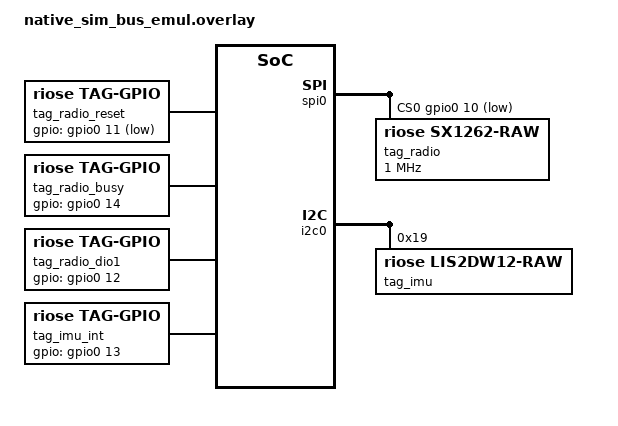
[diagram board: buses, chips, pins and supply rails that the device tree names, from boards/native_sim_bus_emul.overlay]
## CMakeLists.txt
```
cmake_minimum_required(VERSION 3.20.0)
find_package(Zephyr REQUIRED HINTS $ENV{ZEPHYR_BASE})
project(cattle_tag_zephyr)

if(CONFIG_BOARD_NATIVE_SIM)
  # native_sim runs the same firmware command protocol against the C
  # peripheral models; this avoids a second Zephyr bus-emulator stack.
  target_sources(app PRIVATE
    src/native_sim_main.c
    ../src/tag_firmware.c
    ../src/sx1262.c
    ../src/reset_cause.c
    ../src/lis2dw12.c
    ../../models/sx1262/src/sx1262_model.c
    ../../models/lis2dw12/lis2dw12_model.c
  )
  target_include_directories(app PRIVATE
    ../include
    ../../models/sx1262/include
    ../../models/lis2dw12
  )
else()
  target_sources(app PRIVATE src/main.c ../src/tag_firmware.c ../src/sx1262.c ../src/reset_cause.c ../src/lis2dw12.c)
  target_include_directories(app PRIVATE ../include)
endif()
```

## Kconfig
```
mainmenu "RIOSE virtual cattle tag"
source "Kconfig.zephyr"

menu "RIOSE virtual cattle tag"

config TAG_ID
	int "32-bit tag identity"
	range 0 2147483647
	default 1

config TAG_BATTERY_MV
	int "Configured battery voltage in millivolts"
	range 0 65535
	default 3000

config TAG_RF_FREQUENCY_HZ
	int "Sub-GHz radio frequency in Hz"
	range 150000000 960000000
	default 915000000

config TAG_TX_POWER_DBM
	int "SX1262 TX power in dBm"
	range -9 22
	default 10

config TAG_STRUCTURED_TRACE
	bool "Emit structured firmware trace records"
	default y
	help
	  Enable the optional SIMULATED_TRACE console sink. Disabling this option
	  removes structured trace output without changing firmware policy.

config TAG_NATIVE_SIM_INJECT_IMU_FAILURE
	bool "Inject one native_sim IMU error for trace recovery tests"
	depends on BOARD_NATIVE_SIM
	default n
	help
	  Make the native_sim test fail one IMU read, then verify the firmware
	  emits ERROR/RECOVERY records and completes a later radio cycle.

endmenu
```

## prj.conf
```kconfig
CONFIG_GPIO=y
CONFIG_I2C=y
CONFIG_SPI=y
CONFIG_MAIN_STACK_SIZE=2048
CONFIG_HEAP_MEM_POOL_SIZE=1024
```

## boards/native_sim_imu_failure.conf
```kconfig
CONFIG_TAG_NATIVE_SIM_INJECT_IMU_FAILURE=y
```

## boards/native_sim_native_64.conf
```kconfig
# The deterministic host harness uses modeled SPI/I2C/GPIO responders. Keep
# their emulation support out of the small physical MCU image.
CONFIG_LOG=y
CONFIG_LOG_DEFAULT_LEVEL=3
```

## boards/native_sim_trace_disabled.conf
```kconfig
CONFIG_TAG_STRUCTURED_TRACE=n
```

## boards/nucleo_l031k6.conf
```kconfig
# Physical characterization build: these settings do not affect native_sim.
CONFIG_PM=y
CONFIG_COUNTER=y
CONFIG_COUNTER_RTC_STM32=y
CONFIG_WATCHDOG=y
CONFIG_WDT_DISABLE_AT_BOOT=y
CONFIG_IWDG_STM32_INITIAL_TIMEOUT=10000
CONFIG_HWINFO=y
CONFIG_TAG_TX_POWER_DBM=14
CONFIG_LOG=n
CONFIG_MAIN_STACK_SIZE=1024
CONFIG_HEAP_MEM_POOL_SIZE=0
```

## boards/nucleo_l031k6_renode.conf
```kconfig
# Renode's STM32L071 surrogate does not model the NUCLEO-L031K6 low-power RTC
# behavior used by the physical profile. Keep the periodic kernel timer active
# so the firmware's bounded sleep and radio-reset delays advance in simulation.
CONFIG_PM=n
# Restore the project's 2 KiB main stack in this profile; the physical board
# fragment overrides it with 1 KiB for the device build.
CONFIG_MAIN_STACK_SIZE=2048
# Keep simulated firmware traces visible on the chosen UART with Zephyr's
# minimal logger, without adding a separate test-side summary as evidence.
CONFIG_LOG=y
CONFIG_LOG_MODE_MINIMAL=y
CONFIG_TAG_STRUCTURED_TRACE=y
```

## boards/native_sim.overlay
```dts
/* Native_sim has emulated SPI/I2C/GPIO controllers. Peripheral responders
 * still need Zephyr bus-emulator implementations; see README.md. */
#include <zephyr/dt-bindings/gpio/gpio.h>

&spi0 {
	status = "okay";
	cs-gpios = <&gpio0 10 GPIO_ACTIVE_LOW>;
	tag_radio: sx1262@0 {
		compatible = "riose,sx1262-raw";
		reg = <0>;
		spi-max-frequency = <1000000>;
		status = "okay";
	};
};

&i2c0 {
	status = "okay";
	tag_imu: lis2dw12@19 {
		compatible = "riose,lis2dw12-raw";
		reg = <0x19>;
		status = "okay";
	};
};

/ {
	aliases {
		tag-radio = &tag_radio;
		tag-imu = &tag_imu;
		tag-radio-reset = &tag_radio_reset;
		tag-radio-dio1 = &tag_radio_dio1;
		tag-imu-int = &tag_imu_int;
	};

	tag_radio_reset: radio-reset {
		compatible = "riose,tag-gpio";
		gpios = <&gpio0 11 GPIO_ACTIVE_LOW>;
	};
	tag_radio_dio1: radio-dio1 {
		compatible = "riose,tag-gpio";
		gpios = <&gpio0 12 GPIO_ACTIVE_HIGH>;
	};
	tag_imu_int: imu-int {
		compatible = "riose,tag-gpio";
		gpios = <&gpio0 13 GPIO_ACTIVE_HIGH>;
	};
};
```

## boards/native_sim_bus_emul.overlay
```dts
/* Native_sim has emulated SPI/I2C/GPIO controllers. Peripheral responders
 * still need Zephyr bus-emulator implementations; see README.md. */
#include <zephyr/dt-bindings/gpio/gpio.h>

&spi0 {
	status = "okay";
	cs-gpios = <&gpio0 10 GPIO_ACTIVE_LOW>;
	tag_radio: sx1262@0 {
		compatible = "riose,sx1262-raw";
		reg = <0>;
		spi-max-frequency = <1000000>;
		status = "okay";
	};
};

&i2c0 {
	status = "okay";
	tag_imu: lis2dw12@19 {
		compatible = "riose,lis2dw12-raw";
		reg = <0x19>;
		status = "okay";
	};
};

/ {
	aliases {
		tag-radio = &tag_radio;
		tag-imu = &tag_imu;
		tag-radio-reset = &tag_radio_reset;
		tag-radio-busy = &tag_radio_busy;
		tag-radio-dio1 = &tag_radio_dio1;
		tag-imu-int = &tag_imu_int;
	};

	tag_radio_reset: radio-reset {
		compatible = "riose,tag-gpio";
		gpios = <&gpio0 11 GPIO_ACTIVE_LOW>;
	};
	tag_radio_busy: radio-busy {
		compatible = "riose,tag-gpio";
		gpios = <&gpio0 14 GPIO_ACTIVE_HIGH>;
	};
	tag_radio_dio1: radio-dio1 {
		compatible = "riose,tag-gpio";
		gpios = <&gpio0 12 GPIO_ACTIVE_HIGH>;
	};
	tag_imu_int: imu-int {
		compatible = "riose,tag-gpio";
		gpios = <&gpio0 13 GPIO_ACTIVE_HIGH>;
	};
};
```

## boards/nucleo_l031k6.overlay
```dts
/*
 * Physical wiring for the RIOSE tag on ST NUCLEO-L031K6.
 * Pin identities come from Zephyr's checked-in board DTS / STM32 pinctrl and
 * ST UM1956 Table 14. External breakout/module header layouts are not implied.
 */

#include <zephyr/dt-bindings/gpio/gpio.h>
#include <zephyr/dt-bindings/pinctrl/stm32-pinctrl.h>
#include <zephyr/dt-bindings/clock/stm32l0_clock.h>

/ {
	chosen {
		/* SysTick stops in STM32L0 STOP mode. Keep the RTC running from LSI
		 * so the kernel can account elapsed time and wake at beacon deadlines.
		 */
		zephyr,cortex-m-idle-timer = &rtc;
	};

	aliases {
		tag-radio = &sx1262;
		tag-imu = &lis2dw12;
		tag-radio-reset = &radio_reset;
		tag-radio-busy = &radio_busy;
		tag-radio-dio1 = &radio_dio1;
		tag-radio-ant-switch = &radio_ant_switch;
		tag-imu-int = &imu_int;
		tag-state-trace = &state_trace;
	};

	tag_gpio: tag-gpios {
		radio_reset: radio-reset {
			compatible = "riose,tag-gpio";
			gpios = <&gpioa 12 GPIO_ACTIVE_LOW>; /* CN3 D2 */
		};

		radio_busy: radio-busy {
			compatible = "riose,tag-gpio";
			gpios = <&gpiob 0 GPIO_ACTIVE_HIGH>; /* CN3 D3 */
		};

		radio_dio1: radio-dio1 {
			compatible = "riose,tag-gpio";
			gpios = <&gpiob 1 GPIO_ACTIVE_HIGH>; /* CN3 D6 */
		};

		/* Semtech SX1262MB2xAS shield D8 ANT SW; Nucleo D8 is PC15. */
		radio_ant_switch: radio-ant-switch {
			compatible = "riose,tag-gpio";
			gpios = <&gpioc 15 GPIO_ACTIVE_HIGH>; /* Arduino D8 */
		};

		imu_int: imu-int {
			compatible = "riose,tag-gpio";
			gpios = <&gpioa 8 GPIO_ACTIVE_HIGH>; /* CN3 D9 */
		};

		/* Three-bit state code to observe dwell time with a logic analyzer.
		 * UM1956 Table 14: A0/A1/A2 are PA0/PA1/PA3. */
		state_trace: state-trace {
			compatible = "riose,tag-gpio";
			gpios = <&gpioa 0 GPIO_ACTIVE_HIGH>, /* CN4 A0: state bit 0 */
				<&gpioa 1 GPIO_ACTIVE_HIGH>, /* CN4 A1: state bit 1 */
				<&gpioa 3 GPIO_ACTIVE_HIGH>; /* CN4 A2: state bit 2 */
		};
	};

};

/* The NUCLEO-L031K6 does not provide an LSE crystal. LSI is less accurate,
 * but remains active in STOP and is sufficient for coarse beacon intervals.
 */
&clk_lsi {
	status = "okay";
};

/* Independent watchdog uses the same always-on LSI source. */
&iwdg {
	status = "okay";
};

&rtc {
	clocks = <&rcc STM32_CLOCK(APB1, 28U)>, <&rcc STM32_SRC_LSI RTC_SEL(2)>;
	status = "okay";
};

/* UM1956 Table 14 exposes SPI1 on D13/D12/D11 = PB3/PB4/PB5. D13 also
 * drives the onboard LED through SB15; isolate it before using PB3 as SCK.
 */
&spi1 {
	pinctrl-0 = <&spi1_sck_pb3 &spi1_miso_pb4 &spi1_mosi_pb5>;
	pinctrl-names = "default";
	cs-gpios = <&gpioa 11 GPIO_ACTIVE_LOW>; /* CN3 D10 */
	status = "okay";

	sx1262: sx1262@0 {
		compatible = "riose,sx1262-raw";
		reg = <0>;
		spi-max-frequency = <1000000>;
		status = "okay";
	};
};

/* Use the Nano I2C-capable route PB6/PB7. UM1956 requires SB16 and SB18 ON;
 * this consumes D5/D4 and requires the alternate PA6/PA5 pads to float.
 */
&i2c1 {
	pinctrl-0 = <&i2c1_scl_pb6 &i2c1_sda_pb7>;
	pinctrl-names = "default";
	status = "okay";
	clock-frequency = <I2C_BITRATE_FAST>;

	/* LIS2DW12 SA0 low => 7-bit address 0x18. Change to 0x19 if the actual
	 * module straps SA0 high; this overlay does not assume its header.
	 */
	lis2dw12: lis2dw12@18 {
		compatible = "riose,lis2dw12-raw";
		reg = <0x18>;
		status = "okay";
	};
};

/* The base DTS assigns PB3 to LD2. Disable the software LED device because
 * PB3 is now SPI SCK; the physical LED is isolated by opening SB15.
 */
&green_led_2 {
	status = "disabled";
};

/* ST UM1956 requires PA5 and PA6 to be inputs when SB18/SB16 reroute PB7/PB6
 * to A4/A5. Keep these pads high impedance in the board's default state.
 */
&gpioa {
	pa5_i2c_reroute_float: pa5-i2c-reroute-float {
		gpio-hog;
		gpios = <5 GPIO_ACTIVE_HIGH>;
		input;
		line-name = "unused PA5 with SB18 enabled";
	};

	pa6_i2c_reroute_float: pa6-i2c-reroute-float {
		gpio-hog;
		gpios = <6 GPIO_ACTIVE_HIGH>;
		input;
		line-name = "unused PA6 with SB16 enabled";
	};
};
```

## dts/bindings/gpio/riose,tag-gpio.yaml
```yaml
description: GPIO pin used by the virtual cattle tag board adapter
compatible: "riose,tag-gpio"
include: base.yaml
properties:
  gpios:
    type: phandle-array
    required: true
```

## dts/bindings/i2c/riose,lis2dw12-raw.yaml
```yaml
description: LIS2DW12 IMU accessed through the tag firmware I2C HAL
compatible: "riose,lis2dw12-raw"
include: i2c-device.yaml
```

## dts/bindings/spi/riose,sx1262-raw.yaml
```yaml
description: Raw SX1262 SPI peripheral handled directly by the portable tag HAL
compatible: "riose,sx1262-raw"
include: spi-device.yaml
```

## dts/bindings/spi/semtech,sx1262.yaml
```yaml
description: SX1262 connected over SPI (tag firmware owns the command protocol)
include: spi-device.yaml
```

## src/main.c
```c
#include <errno.h>
#include <stdint.h>

#include <zephyr/device.h>
#include <zephyr/devicetree.h>
#include <zephyr/drivers/gpio.h>
#include <zephyr/drivers/hwinfo.h>
#include <zephyr/drivers/i2c.h>
#include <zephyr/drivers/spi.h>
#include <zephyr/drivers/watchdog.h>
#include <zephyr/kernel.h>
#include <zephyr/logging/log.h>

#include "tag_firmware.h"
#include "tag_lis2dw12.h"
#include "tag_reset_cause.h"

LOG_MODULE_REGISTER(cattle_tag, LOG_LEVEL_INF);

K_SEM_DEFINE(tag_event_sem, 0, 1);
#define TAG_WATCHDOG_TIMEOUT_MS 10000u
#define TAG_WATCHDOG_FEED_SLICE_MS 5000u
#define TAG_RESET_FLAGS_KNOWN_MASK ((1u << 9) - 1u)
static struct gpio_callback imu_gpio_cb;
static struct gpio_callback radio_gpio_cb;
static bool reset_cause_available;
static uint32_t previous_reset_cause;
static tag_reset_kind_t previous_reset_kind;

#if defined(CONFIG_WATCHDOG)
static const struct device *const tag_watchdog = DEVICE_DT_GET(DT_NODELABEL(iwdg));
static int tag_watchdog_channel = -1;

static int watchdog_start(void)
{
    if (!device_is_ready(tag_watchdog)) return -ENODEV;
    const struct wdt_timeout_cfg timeout = {
        .window = {.min = 0u, .max = TAG_WATCHDOG_TIMEOUT_MS},
        .callback = NULL,
    };
    tag_watchdog_channel = wdt_install_timeout(tag_watchdog, &timeout);
    if (tag_watchdog_channel < 0) return tag_watchdog_channel;
    const int rc = wdt_setup(tag_watchdog, 0u);
    if (rc != 0) {
        tag_watchdog_channel = -1;
        return rc;
    }
    LOG_INF("MCU watchdog active, timeout_ms=%u", TAG_WATCHDOG_TIMEOUT_MS);
    return 0;
}

static int watchdog_feed(void)
{
    return tag_watchdog_channel < 0 ? -ENODEV
        : wdt_feed(tag_watchdog, tag_watchdog_channel);
}
#else
static int watchdog_start(void) { return 0; }
static int watchdog_feed(void) { return 0; }
#endif

static void report_and_clear_reset_cause(void)
{
#if defined(CONFIG_HWINFO)
    uint32_t cause = 0u;
    const int rc = hwinfo_get_reset_cause(&cause);
    if (rc != 0) {
        LOG_WRN("MCU_RESET_CAUSE unavailable (%d)", rc);
        return;
    }
    const tag_reset_kind_t kind = tag_reset_cause_classify(cause);
    reset_cause_available = cause != 0u;
    previous_reset_cause = cause;
    previous_reset_kind = kind;
    LOG_INF("MCU_RESET_CAUSE,flags=0x%08x,kind=%s,unknown_bits=0x%08x",
            cause, tag_reset_kind_name(kind), cause & ~TAG_RESET_FLAGS_KNOWN_MASK);
    const int clear_rc = hwinfo_clear_reset_cause();
    if (clear_rc != 0) LOG_WRN("Could not clear reset-cause flags (%d)", clear_rc);
#else
    LOG_INF("MCU_RESET_CAUSE unavailable in this backend");
#endif
}

#if !DT_NODE_HAS_STATUS(DT_ALIAS(tag_radio), okay) || \
    !DT_NODE_HAS_STATUS(DT_ALIAS(tag_imu), okay) || \
    !DT_NODE_HAS_STATUS(DT_ALIAS(tag_radio_busy), okay) || \
    !DT_NODE_HAS_STATUS(DT_ALIAS(tag_state_trace), okay)
#error "Add tag-radio, tag-imu, tag-radio-busy, and tag-state-trace aliases"
#endif

static const struct spi_dt_spec radio_spi = SPI_DT_SPEC_GET(
    DT_ALIAS(tag_radio), SPI_OP_MODE_MASTER | SPI_WORD_SET(8) |
                         SPI_TRANSFER_MSB, 0);
static const struct i2c_dt_spec imu_i2c = I2C_DT_SPEC_GET(DT_ALIAS(tag_imu));
static const struct gpio_dt_spec radio_reset =
    GPIO_DT_SPEC_GET(DT_ALIAS(tag_radio_reset), gpios);
static const struct gpio_dt_spec radio_busy =
    GPIO_DT_SPEC_GET(DT_ALIAS(tag_radio_busy), gpios);
static const struct gpio_dt_spec radio_dio1 =
    GPIO_DT_SPEC_GET(DT_ALIAS(tag_radio_dio1), gpios);
static const struct gpio_dt_spec radio_ant_switch =
    GPIO_DT_SPEC_GET(DT_ALIAS(tag_radio_ant_switch), gpios);
static const struct gpio_dt_spec imu_int =
    GPIO_DT_SPEC_GET(DT_ALIAS(tag_imu_int), gpios);
static const struct gpio_dt_spec state_trace_pins[] = {
    GPIO_DT_SPEC_GET_BY_IDX(DT_ALIAS(tag_state_trace), gpios, 0),
    GPIO_DT_SPEC_GET_BY_IDX(DT_ALIAS(tag_state_trace), gpios, 1),
    GPIO_DT_SPEC_GET_BY_IDX(DT_ALIAS(tag_state_trace), gpios, 2),
};

static uint32_t structured_trace_sequence;

static int spi_transfer(void *context, const uint8_t *tx, size_t tx_len,
                        uint8_t *rx, size_t rx_len)
{
    ARG_UNUSED(context);
    if (tx == NULL || rx == NULL || tx_len == 0 || tx_len != rx_len) {
        return -EINVAL;
    }

    struct spi_buf tx_buf = {.buf = (void *)tx, .len = tx_len};
    struct spi_buf rx_buf = {.buf = rx, .len = rx_len};
    const struct spi_buf_set tx_set = {.buffers = &tx_buf, .count = 1};
    const struct spi_buf_set rx_set = {.buffers = &rx_buf, .count = 1};
    return spi_transceive_dt(&radio_spi, &tx_set, &rx_set);
}

static int radio_busy_fn(void *context)
{
    ARG_UNUSED(context);
    return gpio_pin_get_dt(&radio_busy);
}

static int radio_reset_fn(void *context)
{
    ARG_UNUSED(context);
    int rc = gpio_pin_set_dt(&radio_reset, 1);
    if (rc != 0) return rc;
    k_msleep(2);
    rc = gpio_pin_set_dt(&radio_reset, 0);
    if (rc != 0) return rc;
    k_msleep(5);
    return 0;
}

static int imu_write_register(uint8_t reg, uint8_t value)
{
    const uint8_t bytes[] = {reg, value};
    return i2c_write_dt(&imu_i2c, bytes, sizeof(bytes));
}

static int imu_configure(void)
{
    uint8_t reg = 0x0f; /* WHO_AM_I: LIS2DW12 returns 0x44. */
    uint8_t identity = 0;
    int rc = i2c_write_read_dt(&imu_i2c, &reg, sizeof(reg), &identity,
                               sizeof(identity));
    if (rc != 0) return rc;
    if (identity != 0x44) return -ENODEV;
    /* BDU + IF_ADD_INC: the sample read below starts at OUT_X_L and fetches
     * all six axis bytes in one I2C transaction. */
    rc = imu_write_register(0x21, 0x0C);
    if (rc != 0) return rc;
    rc = imu_write_register(0x20, 0x14); /* CTRL1: 12.5 Hz, high-performance 14-bit mode */
    if (rc != 0) return rc;
    rc = imu_write_register(0x25, 0x00); /* CTRL6: explicitly select the ±2 g full scale */
    if (rc != 0) return rc;
    rc = imu_write_register(0x34, 0x02); /* WAKE_UP_THS: 62.5 mg at +/-2 g */
    if (rc != 0) return rc;
    rc = imu_write_register(0x35, 0x00); /* WAKE_UP_DUR: no extra debounce */
    if (rc != 0) return rc;

    /* Source registers are read-to-clear; discard any power-up/latching event
     * before enabling the route and global interrupt gate. */
    uint8_t source_reg = 0x38; /* WAKE_UP_SRC */
    uint8_t source = 0;
    rc = i2c_write_read_dt(&imu_i2c, &source_reg, sizeof(source_reg),
                           &source, sizeof(source));
    if (rc != 0) return rc;
    source_reg = 0x3b; /* ALL_INT_SRC */
    rc = i2c_write_read_dt(&imu_i2c, &source_reg, sizeof(source_reg),
                           &source, sizeof(source));
    if (rc != 0) return rc;
    rc = imu_write_register(0x23, 0x20); /* CTRL4.INT1_WU (bit 5) -> INT1 */
    if (rc != 0) return rc;
    return imu_write_register(0x3f, 0x20); /* CTRL7.INTERRUPTS_ENABLE */
}

static int imu_read_fn(void *context, tag_imu_sample_t *sample)
{
    ARG_UNUSED(context);
    if (sample == NULL) return -EINVAL;
    uint8_t reg = 0xa8; /* OUT_X_L | auto increment */
    uint8_t data[6] = {0};
    int rc = i2c_write_read_dt(&imu_i2c, &reg, sizeof(reg), data, sizeof(data));
    if (rc != 0) return rc;

    int16_t axes_mg[3];
    if (!tag_lis2dw12_decode_hp14_axes_mg(data, sizeof(data), axes_mg)) {
        return -EINVAL;
    }
    sample->x_mg = axes_mg[0];
    sample->y_mg = axes_mg[1];
    sample->z_mg = axes_mg[2];
    uint8_t source_reg = 0x38; /* Reading WAKE_UP_SRC clears the latched WU event. */
    uint8_t wake_source = 0;
    rc = i2c_write_read_dt(&imu_i2c, &source_reg, sizeof(source_reg),
                           &wake_source, sizeof(wake_source));
    if (rc != 0) return rc;
    sample->interrupt_flags = (wake_source & 0x08u) != 0u
        ? TAG_IMU_FLAG_WAKE_UP : 0u;
    return 0;
}

static bool imu_irq_pending(void *context)
{
    ARG_UNUSED(context);
    return gpio_pin_get_dt(&imu_int) > 0;
}

static bool radio_irq_pending(void *context)
{
    ARG_UNUSED(context);
    return gpio_pin_get_dt(&radio_dio1) > 0;
}

static uint32_t clock_ms(void *context)
{
    ARG_UNUSED(context);
    return k_uptime_get_32();
}

static uint64_t clock_us(void *context)
{
    ARG_UNUSED(context);
    return (uint64_t)k_uptime_get() * 1000u;
}

static void sleep_ms(void *context, uint32_t duration_ms)
{
    ARG_UNUSED(context);
    k_sleep(K_MSEC(duration_ms));
}

static void tag_gpio_isr(const struct device *port, struct gpio_callback *cb,
                         gpio_port_pins_t pins)
{
    ARG_UNUSED(port);
    ARG_UNUSED(cb);
    ARG_UNUSED(pins);
    k_sem_give(&tag_event_sem);
}

static void wait_for_event(void *context, uint32_t timeout_ms)
{
    ARG_UNUSED(context);
    /* Level check closes the gap between the FSM's IRQ check and taking the
     * semaphore. INT1/DIO1 callbacks then wake the MCU without periodic polls. */
    if (gpio_pin_get_dt(&imu_int) > 0 || gpio_pin_get_dt(&radio_dio1) > 0) return;
    const int64_t deadline = k_uptime_get() + timeout_ms;
    while (true) {
        const int64_t remaining = deadline - k_uptime_get();
        if (remaining <= 0) return;
        const uint32_t slice = (uint32_t)MIN(remaining, TAG_WATCHDOG_FEED_SLICE_MS);
        if (k_sem_take(&tag_event_sem, K_MSEC(slice)) == 0) return;
        const int rc = watchdog_feed();
        if (rc != 0) {
            LOG_ERR("Watchdog feed failed while waiting for event (%d)", rc);
            return;
        }
    }
}

static void state_trace(void *context, tag_state_t state)
{
    ARG_UNUSED(context);
    const uint8_t code = (uint8_t)state;
    for (size_t bit = 0; bit < ARRAY_SIZE(state_trace_pins); ++bit) {
        (void)gpio_pin_set_dt(&state_trace_pins[bit], (code >> bit) & 1u);
    }
}

static const char *trace_event_name(tag_trace_event_t event)
{
    static const char *const names[] = {
        "INVALID", "BOOT", "MCU_INIT", "STATE", "IMU_READ", "PACKET_CREATED",
        "RADIO_STANDBY", "TX_START", "TX_DONE", "RX_START", "RX_DONE",
        "RADIO_SLEEP", "ERROR", "RECOVERY", "MCU_SLEEP", "WAKE", "SPI",
        "IRQ", "TIMEOUT", "WATCHDOG", "REBOOT", "TRACE_END"
    };
    return (unsigned)event < ARRAY_SIZE(names) ? names[event] : "UNKNOWN";
}

static void trace_event(void *context, const tag_trace_record_t *record)
{
    ARG_UNUSED(context);
    LOG_INF("SIMULATED_TRACE,v1,%u,%llu,%u,%s,%u,%u,%d,%u,%u,%u,%s",
            structured_trace_sequence++,
            (unsigned long long)record->timestamp_us,
            (unsigned)record->state, trace_event_name(record->event),
            (unsigned)record->event, (unsigned)record->source, (int)record->result,
            record->value0, record->value1, record->value2, record->packet_hex);
}

int main(void)
{
    report_and_clear_reset_cause();
    int rc = watchdog_start();
    if (rc != 0) {
        LOG_ERR("MCU watchdog initialization failed (%d)", rc);
        return rc;
    }
    if (!spi_is_ready_dt(&radio_spi) || !i2c_is_ready_dt(&imu_i2c) ||
        !gpio_is_ready_dt(&radio_reset) || !gpio_is_ready_dt(&radio_busy) ||
        !gpio_is_ready_dt(&radio_dio1) || !gpio_is_ready_dt(&radio_ant_switch) ||
        !gpio_is_ready_dt(&imu_int)) {
        LOG_ERR("A required SPI, I2C, or GPIO device is not ready");
        return -ENODEV;
    }
    rc = gpio_pin_configure_dt(&radio_reset, GPIO_OUTPUT_INACTIVE);
    if (rc != 0) return rc;
    rc = gpio_pin_configure_dt(&radio_busy, GPIO_INPUT);
    if (rc != 0) return rc;
    rc = gpio_pin_configure_dt(&radio_dio1, GPIO_INPUT);
    if (rc != 0) return rc;
    /* Shield ANT_SW is held high; SX1262 DIO2 selects TX/RX automatically. */
    rc = gpio_pin_configure_dt(&radio_ant_switch, GPIO_OUTPUT_ACTIVE);
    if (rc != 0) return rc;
    rc = gpio_pin_configure_dt(&imu_int, GPIO_INPUT);
    if (rc != 0) return rc;
    for (size_t i = 0; i < ARRAY_SIZE(state_trace_pins); ++i) {
        if (!gpio_is_ready_dt(&state_trace_pins[i])) return -ENODEV;
        rc = gpio_pin_configure_dt(&state_trace_pins[i], GPIO_OUTPUT_INACTIVE);
        if (rc != 0) return rc;
    }
    gpio_init_callback(&imu_gpio_cb, tag_gpio_isr, BIT(imu_int.pin));
    rc = gpio_add_callback(imu_int.port, &imu_gpio_cb);
    if (rc != 0) return rc;
    rc = gpio_pin_interrupt_configure_dt(&imu_int, GPIO_INT_EDGE_TO_ACTIVE);
    if (rc != 0) return rc;
    gpio_init_callback(&radio_gpio_cb, tag_gpio_isr, BIT(radio_dio1.pin));
    rc = gpio_add_callback(radio_dio1.port, &radio_gpio_cb);
    if (rc != 0) return rc;
    rc = gpio_pin_interrupt_configure_dt(&radio_dio1, GPIO_INT_EDGE_TO_ACTIVE);
    if (rc != 0) return rc;
    rc = imu_configure();
    if (rc != 0) {
        LOG_ERR("LIS2DW12 I2C setup failed (%d)", rc);
        return rc;
    }

    const tag_hal_t hal = {
        .context = NULL,
        .spi_transfer = spi_transfer,
        .radio_reset = radio_reset_fn,
        .radio_busy = radio_busy_fn,
        .imu_read = imu_read_fn,
        .imu_irq_pending = imu_irq_pending,
        .radio_irq_pending = radio_irq_pending,
        .clock_ms = clock_ms,
        .clock_us = clock_us,
        .sleep_ms = sleep_ms,
        .wait_for_event = wait_for_event,
        .state_trace = state_trace,
        .trace_event = IS_ENABLED(CONFIG_TAG_STRUCTURED_TRACE) ? trace_event : NULL,
    };
    tag_config_t config = tag_default_config(CONFIG_TAG_ID);
    config.rf_frequency_hz = CONFIG_TAG_RF_FREQUENCY_HZ;
    config.tx_power_dbm = CONFIG_TAG_TX_POWER_DBM;
    config.battery_mv = CONFIG_TAG_BATTERY_MV;
    static tag_firmware_t firmware;
    rc = tag_firmware_init(&firmware, &hal, &config);
    if (rc != 0) return rc;
    if (reset_cause_available && previous_reset_kind != TAG_RESET_KIND_POWER_ON) {
        const tag_trace_event_t event = previous_reset_kind == TAG_RESET_KIND_WATCHDOG
            ? TAG_TRACE_WATCHDOG : TAG_TRACE_REBOOT;
        tag_trace_emit(&firmware.hal, firmware.state, event, TAG_TRACE_SOURCE_HAL,
                       0, previous_reset_cause, (uint32_t)previous_reset_kind, 0u);
    }
    LOG_INF("C tag firmware started (tag id %u)", config.tag_id);

    while (true) {
        tag_firmware_step(&firmware);
        rc = watchdog_feed();
        if (rc != 0) {
            LOG_ERR("Watchdog feed failed after firmware step (%d)", rc);
            return rc;
        }
    }
    return 0;
}
```

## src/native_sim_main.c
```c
#include <errno.h>
#include <stdint.h>

#include <zephyr/kernel.h>
#include <zephyr/logging/log.h>

#include "lis2dw12_model.h"
#include "sx1262_model.h"
#include "tag_firmware.h"

LOG_MODULE_REGISTER(cattle_tag_sim, LOG_LEVEL_INF);

/* native_sim deliberately keeps the Zephyr idle thread alive after main(). */
extern void nsi_exit(int exit_code);

static sx1262_model_t radio;
static lis2dw12_model_t imu;
static uint32_t structured_trace_sequence;

static uint32_t now_ms(void)
{
    return k_uptime_get_32();
}

static uint64_t now_us(void *context)
{
    ARG_UNUSED(context);
    return (uint64_t)k_uptime_get() * 1000u;
}

static int spi_transfer(void *context, const uint8_t *tx, size_t tx_len,
                        uint8_t *rx, size_t rx_len)
{
    ARG_UNUSED(context);
    sx1262_model_advance(&radio, now_ms());
    return sx1262_model_transfer(&radio, tx, tx_len, rx, rx_len);
}

static int radio_reset(void *context)
{
    ARG_UNUSED(context);
    sx1262_model_reset(&radio);
    radio.now_ms = now_ms();
    return 0;
}

static int imu_read(void *context, tag_imu_sample_t *sample)
{
    ARG_UNUSED(context);
#if IS_ENABLED(CONFIG_TAG_NATIVE_SIM_INJECT_IMU_FAILURE)
    static bool fail_once = true;
    if (fail_once) {
        fail_once = false;
        return -EIO;
    }
#endif
    uint8_t bytes[6];
    lis2dw12_tick(&imu, 20u);
    if (lis2dw12_i2c_read(&imu, LIS2DW12_REG_OUT_X_L, bytes, sizeof(bytes)) != LIS2DW12_OK) {
        return -EIO;
    }
    const unsigned fs_code = (imu.registers[LIS2DW12_REG_CTRL6] >> 4u) & 3u;
    const int32_t full_scale_g = (int32_t)(2u << fs_code);
    const int16_t axes[] = {
        (int16_t)((uint16_t)bytes[0] | ((uint16_t)bytes[1] << 8u)),
        (int16_t)((uint16_t)bytes[2] | ((uint16_t)bytes[3] << 8u)),
        (int16_t)((uint16_t)bytes[4] | ((uint16_t)bytes[5] << 8u)),
    };
    sample->x_mg = (int16_t)(((int32_t)axes[0] * full_scale_g * 1000) / 32768);
    sample->y_mg = (int16_t)(((int32_t)axes[1] * full_scale_g * 1000) / 32768);
    sample->z_mg = (int16_t)(((int32_t)axes[2] * full_scale_g * 1000) / 32768);
    sample->interrupt_flags = lis2dw12_irq_pending(&imu) ? 0x02u : 0u;
    return 0;
}

static bool imu_irq_pending(void *context)
{
    ARG_UNUSED(context);
    return lis2dw12_irq_pending(&imu);
}

static bool radio_irq_pending(void *context)
{
    ARG_UNUSED(context);
    sx1262_model_advance(&radio, now_ms());
    return sx1262_model_irq(&radio);
}

static uint32_t clock_ms(void *context)
{
    ARG_UNUSED(context);
    return now_ms();
}

static const char *trace_event_name(tag_trace_event_t event)
{
    static const char *const names[] = {
        "INVALID", "BOOT", "MCU_INIT", "STATE", "IMU_READ", "PACKET_CREATED",
        "RADIO_STANDBY", "TX_START", "TX_DONE", "RX_START", "RX_DONE",
        "RADIO_SLEEP", "ERROR", "RECOVERY", "MCU_SLEEP", "WAKE", "SPI",
        "IRQ", "TIMEOUT", "WATCHDOG", "REBOOT", "TRACE_END"
    };
    return (unsigned)event < ARRAY_SIZE(names) ? names[event] : "UNKNOWN";
}

static void trace_event(void *context, const tag_trace_record_t *record)
{
    ARG_UNUSED(context);
    LOG_INF("SIMULATED_TRACE,v1,%u,%llu,%u,%s,%u,%u,%d,%u,%u,%u,%s",
            structured_trace_sequence++,
            (unsigned long long)record->timestamp_us,
            (unsigned)record->state, trace_event_name(record->event),
            (unsigned)record->event, (unsigned)record->source,
            (int)record->result,
            record->value0, record->value1, record->value2, record->packet_hex);
}

static void sleep_ms(void *context, uint32_t duration_ms)
{
    ARG_UNUSED(context);
    k_sleep(K_MSEC(duration_ms));
    const uint32_t time = now_ms();
    lis2dw12_tick(&imu, duration_ms);
    sx1262_model_advance(&radio, time);
}

int main(void)
{
    sx1262_model_init(&radio);
    radio.tx_latency_ms = 8u;
    lis2dw12_init(&imu, NULL, NULL);
    lis2dw12_set_motion(&imu, LIS2DW12_MOTION_GRAZING);

    const tag_hal_t hal = {
        .spi_transfer = spi_transfer,
        .radio_reset = radio_reset,
        .imu_read = imu_read,
        .imu_irq_pending = imu_irq_pending,
        .radio_irq_pending = radio_irq_pending,
        .clock_ms = clock_ms,
        .clock_us = now_us,
        .sleep_ms = sleep_ms,
        .trace_event = IS_ENABLED(CONFIG_TAG_STRUCTURED_TRACE) ? trace_event : NULL,
    };
    tag_config_t config = tag_default_config(0x12345678u);
    config.normal_beacon_ms = 100u;
    config.active_beacon_ms = 50u;
    config.alert_beacon_ms = 25u;

    tag_firmware_t firmware;
    if (tag_firmware_init(&firmware, &hal, &config) != 0) {
        LOG_ERR("firmware HAL initialization failed");
        return -EINVAL;
    }

    for (uint32_t step = 0; step < 1000u; ++step) {
        tag_firmware_step(&firmware);
        if (firmware.packets_sent > 0u && firmware.state == TAG_STATE_SLEEP) {
            break;
        }
    }
    const bool failures_valid = IS_ENABLED(CONFIG_TAG_NATIVE_SIM_INJECT_IMU_FAILURE)
        ? firmware.failures > 0u : firmware.failures == 0u;
    const bool valid = firmware.packets_sent == 1u && failures_valid &&
                       tag_telemetry_crc_valid(radio.fifo, TAG_TELEMETRY_MAX_SIZE) &&
                       radio.mode == SX1262_MODE_SLEEP;
    if (!valid) {
        LOG_ERR("native_sim cycle failed: sent=%u failures=%u state=%d radio_mode=%d",
                firmware.packets_sent, firmware.failures, firmware.state, radio.mode);
        nsi_exit(-EIO);
    }
    tag_trace_emit(&hal, firmware.state, TAG_TRACE_END, TAG_TRACE_SOURCE_HAL,
                   0, firmware.packets_sent, firmware.failures, 0u);
    LOG_INF("SIMULATED native_sim cycle PASS: TX=%u packet=%uB failures=%u; SX1262 asleep",
            firmware.packets_sent, TAG_TELEMETRY_MAX_SIZE, firmware.failures);
    nsi_exit(0);
    return 0;
}
```
